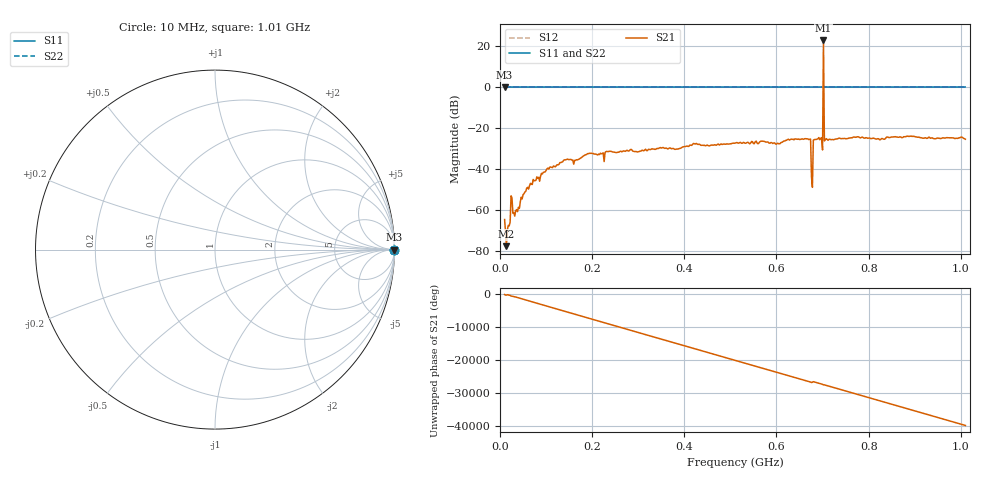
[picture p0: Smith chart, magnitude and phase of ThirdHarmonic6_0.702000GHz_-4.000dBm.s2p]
! 8/15/2025 11:26:51 PM
! C:\ANRITSUVNA\TEMP\TEMP.S2P
! CHANNEL.1
! TR.MEASUREMENT
! RAW.DATA
! RF.CORRECTION.OFF
! AVERAGING.OFF
! IF.BANDWIDTH: 5KHZ
! SWEEPTYPE:  FREQ.SWEEP(Linear)
! Reference Plane Port Info
! PORT:  PORT1  PORT2
! DISTANCE:  0  m  0  m
! TIME:  0  s  0  s
! PHASE.OFFSET:  0  deg.  0  deg.
! LOSS:  0  dB  0  dB
! REF.LOSS:  0  dB  0  dB
! REF.FREQ:  0  Hz  0  Hz
! Power Info
! POWER:  -20  dBm  -20  dBm
! EFF.POWER:  -20  dBm  -20  dBm
! SOURCE.ATTEN:  0  dB  0  dB
! TEST.ATTEN:  0  dB  0  dB
# GHZ S RI R 50.0
! FREQ.GHZ  S11RE  S11IM  S21RE  S21IM  S12RE  S12IM  S22RE  S22IM
!; PortSelection: Port_12
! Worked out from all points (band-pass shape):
!   501 points, 10 MHz to 1.01 GHz, reference 50 ohm
!   highest |S21| = 22.93 dB at 702 MHz (marker M1); lowest = -77.8 dB at 14 MHz (marker M2)
!   |S21| within 3 dB of the highest: 701.8881 MHz to 702.1219 MHz (233.8 kHz wide, 0.0333 % of centre)
!   lowest |S11| = 0.0 dB at 10 MHz (marker M3)
!   |S11| at or under -10 dB: nowhere
!   |S22| runs from 0.0 to 0.0 dB; largest |S21 - S12| = 14
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0.01  1 0  0.00037 -0.000444  1 0  1 0
0.014  1 0  -0.00011 6.68e-05  1 0  1 0
0.018  1 0  -0.000411 -6.14e-05  1 0  1 0
0.022  1 0  0.000371 0.000338  1 0  1 0
0.026  1 0  -0.00193 0.000248  1 0  1 0
0.036  1 0  -0.000933 -0.000401  1 0  1 0
0.076  1 0  0.00518 9.04e-05  1 0  1 0
0.178  1 0  -0.0189 -0.00499  1 0  1 0
0.344  1 0  0.0308 -0.00795  1 0  1 0
0.51  1 0  -0.0393 0.0176  1 0  1 0
0.67  1 0  -0.0499 -0.0165  1 0  1 0
0.674  1 0  0.042 0.034  1 0  1 0
0.678  1 0  0.0035 -0.00054  1 0  1 0
0.68  1 0  -0.0466 0.02  1 0  1 0
0.684  1 0  0.0528 -0.00303  1 0  1 0
0.696  1 0  -0.0324 -0.0454  1 0  1 0
0.698  1 0  -0.0523 0.0259  1 0  1 0
0.702  1 0  -0.5542 -14  1 0  1 0
0.706  1 0  -0.0515 -0.00682  1 0  1 0
0.708  1 0  -0.0162 0.0528  1 0  1 0
0.844  1 0  0.047 0.0353  1 0  1 0
1.01  1 0  -0.0526 -0.0101  1 0  1 0
